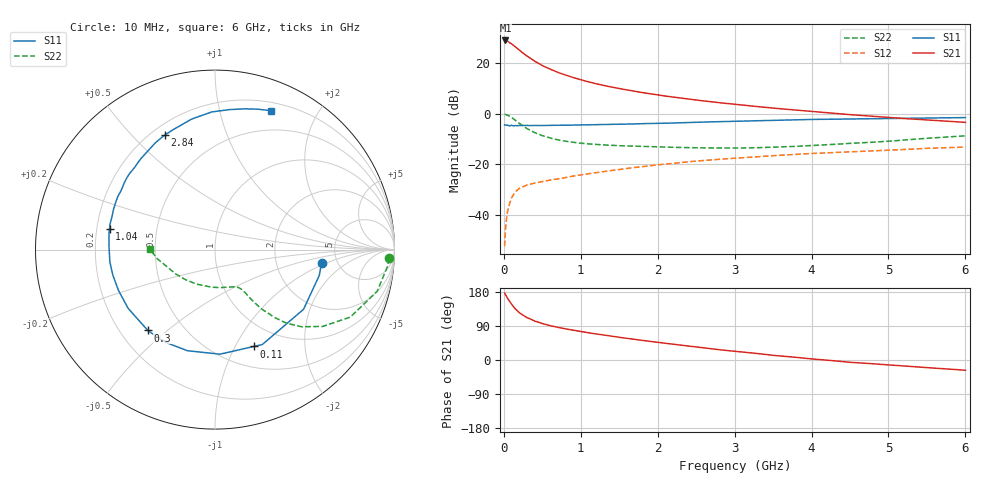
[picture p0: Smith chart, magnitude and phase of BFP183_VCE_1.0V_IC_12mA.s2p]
! Infineon Technologies  Discrete & RF Semiconductors
! BFP183
! VCE = 1.0 V,  IC =  12 mA
! Common Emitter S-Parameters:  Jan 2016
# GHz  S  MA  R  50
!  f  S11  S21  S12  S22
! GHz  MAG  ANG  MAG  ANG  MAG  ANG  MAG  ANG
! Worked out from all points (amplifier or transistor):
!   210 points, 10 MHz to 6 GHz, reference 50 ohm
!   highest |S21| = 28.9 dB at 20 MHz (marker M1)
!   |S21| within 3 dB of that: start of sweep to 169.4 MHz
!   unconditionally stable (mu >= 1): 922.8 MHz to end of sweep
!   at 185 MHz: K = 0.31, MSG = 27.8 dB, |S12| = -30.0 dB
!   at 1.52 GHz: K = 1.18, MAG = 13.3 dB, |S12| = -22.0 dB
!   at 6 GHz: K = 1.01, MAG = 4.3 dB, |S12| = -13.2 dB
!   S11 on the Smith chart (normalised r, x): 10 MHz: 3.77, -0.87; 110 MHz: 0.73, -1.19; 300 MHz: 0.31, -0.43; 1.04 GHz: 0.25, +0.09; 2.84 GHz: 0.25, +0.62; 6 GHz: 0.28, +1.44
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0.01  0.5989 -7.1  27.84 176.5  0.0024 84.7  0.9725 -2.9
0.02  0.5984 -14.0  27.93 173.1  0.0048 76.2  0.9645 -5.8
0.05  0.595 -34.0  26.95 162.2  0.012 78.3  0.9331 -14.4
0.1  0.5909 -63.5  23.97 146.9  0.0216 62.7  0.8426 -26.5
0.11  0.5814 -68.1  23.28 144.7  0.0229 60.9  0.82 -28.1
0.15  0.5833 -87.3  20.93 134.5  0.0284 55.6  0.7372 -35.5
0.2  0.584 -105.3  18.1 124.9  0.0332 49.5  0.6461 -41.7
0.26  0.5849 -121.1  15.26 116.5  0.0365 45.1  0.5574 -46.4
0.3  0.5857 -129.7  13.77 111.8  0.0388 43.1  0.5065 -48.6
0.4  0.5843 -145.9  10.89 102.7  0.0423 41.7  0.4216 -51.8
0.52  0.5834 -159.0  8.634 95.1  0.0461 40.5  0.3594 -53.5
0.6  0.5867 -166.1  7.595 90.6  0.0485 40.8  0.329 -54.2
0.7  0.5897 -173.2  6.531 86.1  0.0512 41.7  0.3026 -54.7
1.02  0.5987 169.7  4.574 74.4  0.0618 43.5  0.2585 -56.9
1.04  0.5993 168.7  4.493 73.7  0.0626 43.7  0.2568 -57.1
1.5  0.6169 151.4  3.129 59.8  0.079 44.8  0.2321 -63.0
2.02  0.6402 134.5  2.309 46.1  0.0978 43.1  0.2198 -73.4
2.84  0.6964 113.6  1.621 26.3  0.1264 37.9  0.21 -96.3
3.1  0.7112 107.8  1.476 21.1  0.1349 36.0  0.2093 -104.8
4.1  0.7694 89.9  1.073 1.3  0.1652 28.0  0.2378 -137.1
5.1  0.8038 77.3  0.819 -14.3  0.1922 20.7  0.292 -163.1
6  0.835 68.0  0.672 -27.1  0.2182 12.5  0.3641 179.5
